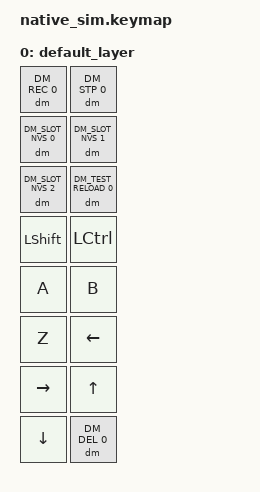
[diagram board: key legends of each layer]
#include <dt-bindings/zmk/keys.h>
#include <behaviors.dtsi>
#include <dt-bindings/zmk/kscan_mock.h>
#include <behaviors/dynamic_macro.dtsi>
#include <dt-bindings/zmk/dynamic_macros.h>

/* NVS round-trip fidelity test with complex events at max capacity.
 * 3 NVS slots, MAX_EVENTS=16, each slot filled to capacity with
 * modifier chords and arrow keys. Verifies NVS serialization handles
 * non-ASCII keycodes and modifier events correctly across a reload.
 *
 * Key layout (8 rows x 2 cols):
 *   (0,0)=REC        (0,1)=STP
 *   (1,0)=NVS slot 0 (1,1)=NVS slot 1
 *   (2,0)=NVS slot 2 (2,1)=TEST_RELOAD
 *   (3,0)=LSHFT      (3,1)=LCTRL
 *   (4,0)=A          (4,1)=B
 *   (5,0)=Z          (5,1)=LEFT
 *   (6,0)=RIGHT      (6,1)=UP
 *   (7,0)=DOWN       (7,1)=DEL
 *
 * NVS test isolation: ZMK's flash simulator defaults to a shared `flash.bin`
 * in the runner's working directory, and run-test.sh executes test cases in
 * parallel from that same directory. Sibling NVS tests therefore leave residue
 * in slots 0/1/2 at boot. We delete all three slots up front so the assigns
 * below are never rejected as "slot occupied", making this test deterministic
 * regardless of shared-flash state.
 *
 * Sequences (each exactly 16 events):
 *   slot 0: Shift+A Ctrl+Z LEFT RIGHT UP DOWN    (4+4+2+2+2+2 = 16)
 *   slot 1: LEFT RIGHT UP DOWN x2                (8x2 = 16)
 *   slot 2: Ctrl+Z Ctrl+Z Shift+A Shift+B        (4+4+4+4 = 16) */

&kscan {
    rows = <8>;
    columns = <2>;
    exit-after;
    events = <
        /* Clear any shared-flash residue in slots 0/1/2 before recording.
         * Each: DEL (enter delete mode) then press the NVS slot. The async NVS
         * erase needs time to settle, so wait 500ms after each before moving on. */
        ZMK_MOCK_PRESS(7,1,10)    /* DEL */
        ZMK_MOCK_RELEASE(7,1,10)
        ZMK_MOCK_PRESS(1,0,500)   /* delete NVS slot 0 */
        ZMK_MOCK_RELEASE(1,0,10)
        ZMK_MOCK_PRESS(7,1,10)    /* DEL */
        ZMK_MOCK_RELEASE(7,1,10)
        ZMK_MOCK_PRESS(1,1,500)   /* delete NVS slot 1 */
        ZMK_MOCK_RELEASE(1,1,10)
        ZMK_MOCK_PRESS(7,1,10)    /* DEL */
        ZMK_MOCK_RELEASE(7,1,10)
        ZMK_MOCK_PRESS(2,0,500)   /* delete NVS slot 2 */
        ZMK_MOCK_RELEASE(2,0,10)

        /* Record slot 0: Shift+A Ctrl+Z LEFT RIGHT UP DOWN */
        ZMK_MOCK_PRESS(0,0,10)
        ZMK_MOCK_RELEASE(0,0,10)
        ZMK_MOCK_PRESS(3,0,10)    /* Shift down */
        ZMK_MOCK_PRESS(4,0,10)    /* A */
        ZMK_MOCK_RELEASE(4,0,10)
        ZMK_MOCK_RELEASE(3,0,10)  /* Shift up */
        ZMK_MOCK_PRESS(3,1,10)    /* Ctrl down */
        ZMK_MOCK_PRESS(5,0,10)    /* Z */
        ZMK_MOCK_RELEASE(5,0,10)
        ZMK_MOCK_RELEASE(3,1,10)  /* Ctrl up */
        ZMK_MOCK_PRESS(5,1,10)    /* LEFT */
        ZMK_MOCK_RELEASE(5,1,10)
        ZMK_MOCK_PRESS(6,0,10)    /* RIGHT */
        ZMK_MOCK_RELEASE(6,0,10)
        ZMK_MOCK_PRESS(6,1,10)    /* UP */
        ZMK_MOCK_RELEASE(6,1,10)
        ZMK_MOCK_PRESS(7,0,10)    /* DOWN */
        ZMK_MOCK_RELEASE(7,0,10)
        ZMK_MOCK_PRESS(0,1,10)
        ZMK_MOCK_RELEASE(0,1,10)
        ZMK_MOCK_PRESS(1,0,500)
        ZMK_MOCK_RELEASE(1,0,10)

        /* Record slot 1: LEFT RIGHT UP DOWN LEFT RIGHT UP DOWN */
        ZMK_MOCK_PRESS(0,0,10)
        ZMK_MOCK_RELEASE(0,0,10)
        ZMK_MOCK_PRESS(5,1,10)    /* LEFT */
        ZMK_MOCK_RELEASE(5,1,10)
        ZMK_MOCK_PRESS(6,0,10)    /* RIGHT */
        ZMK_MOCK_RELEASE(6,0,10)
        ZMK_MOCK_PRESS(6,1,10)    /* UP */
        ZMK_MOCK_RELEASE(6,1,10)
        ZMK_MOCK_PRESS(7,0,10)    /* DOWN */
        ZMK_MOCK_RELEASE(7,0,10)
        ZMK_MOCK_PRESS(5,1,10)    /* LEFT */
        ZMK_MOCK_RELEASE(5,1,10)
        ZMK_MOCK_PRESS(6,0,10)    /* RIGHT */
        ZMK_MOCK_RELEASE(6,0,10)
        ZMK_MOCK_PRESS(6,1,10)    /* UP */
        ZMK_MOCK_RELEASE(6,1,10)
        ZMK_MOCK_PRESS(7,0,10)    /* DOWN */
        ZMK_MOCK_RELEASE(7,0,10)
        ZMK_MOCK_PRESS(0,1,10)
        ZMK_MOCK_RELEASE(0,1,10)
        ZMK_MOCK_PRESS(1,1,500)
        ZMK_MOCK_RELEASE(1,1,10)

        /* Record slot 2: Ctrl+Z Ctrl+Z Shift+A Shift+B */
        ZMK_MOCK_PRESS(0,0,10)
        ZMK_MOCK_RELEASE(0,0,10)
        ZMK_MOCK_PRESS(3,1,10)    /* Ctrl down */
        ZMK_MOCK_PRESS(5,0,10)    /* Z */
        ZMK_MOCK_RELEASE(5,0,10)
        ZMK_MOCK_RELEASE(3,1,10)  /* Ctrl up */
        ZMK_MOCK_PRESS(3,1,10)    /* Ctrl down */
        ZMK_MOCK_PRESS(5,0,10)    /* Z */
        ZMK_MOCK_RELEASE(5,0,10)
        ZMK_MOCK_RELEASE(3,1,10)  /* Ctrl up */
        ZMK_MOCK_PRESS(3,0,10)    /* Shift down */
        ZMK_MOCK_PRESS(4,0,10)    /* A */
        ZMK_MOCK_RELEASE(4,0,10)
        ZMK_MOCK_RELEASE(3,0,10)  /* Shift up */
        ZMK_MOCK_PRESS(3,0,10)    /* Shift down */
        ZMK_MOCK_PRESS(4,1,10)    /* B */
        ZMK_MOCK_RELEASE(4,1,10)
        ZMK_MOCK_RELEASE(3,0,10)  /* Shift up */
        ZMK_MOCK_PRESS(0,1,10)
        ZMK_MOCK_RELEASE(0,1,10)
        ZMK_MOCK_PRESS(2,0,500)
        ZMK_MOCK_RELEASE(2,0,10)

        /* TEST_RELOAD: flush NVS, zero RAM, reload */
        ZMK_MOCK_PRESS(2,1,10)
        ZMK_MOCK_RELEASE(2,1,10)

        /* Play all 3 slots post-reload */
        ZMK_MOCK_PRESS(1,0,2000)
        ZMK_MOCK_RELEASE(1,0,10)
        ZMK_MOCK_PRESS(1,1,2000)
        ZMK_MOCK_RELEASE(1,1,10)
        ZMK_MOCK_PRESS(2,0,2000)
        ZMK_MOCK_RELEASE(2,0,10)
    >;
};

/ {
    keymap {
        compatible = "zmk,keymap";
        default_layer {
            bindings = <
                &dm DM_REC 0      &dm DM_STP 0
                &dm DM_SLOT_NVS 0 &dm DM_SLOT_NVS 1
                &dm DM_SLOT_NVS 2 &dm DM_TEST_RELOAD 0
                &kp LSHFT         &kp LCTRL
                &kp A             &kp B
                &kp Z             &kp LEFT
                &kp RIGHT         &kp UP
                &kp DOWN          &dm DM_DEL 0
            >;
        };
    };
};
